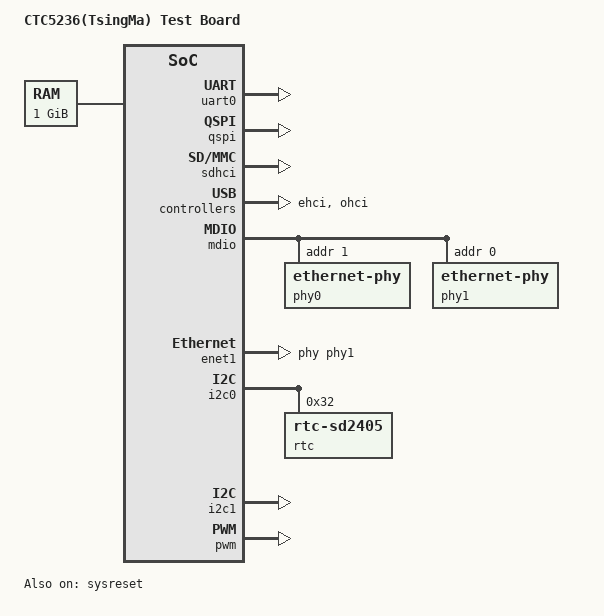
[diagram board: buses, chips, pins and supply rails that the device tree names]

/dts-v1/;
#include "ctc5236.dtsi"

/ {
	model = "CTC5236(TsingMa) Test Board";
	compatible = "ctc5236,tsingma-test";

	memory {
		device_type = "memory";
		reg = <0 0x80000000 0 0x40000000>;
	};

	chosen {
		stdout-path = "serial0:115200n8";
	};

	aliases {
		serial0 = &uart0;
		spi0 = &spi;
		spi1 = &qspi;
		mmc0 = &sdhci;
		usb0 = &ehci;
		usb1 = &ohci;
		ethernet0 = &enet0;
		ethernet1 = &enet1;
		i2c0 = &i2c0;
		i2c1 = &i2c1;
		pcie0 = &pcie;
	};
};

&uart0 {
	status = "okay";
};

&qspi {
	status = "okay";
};

&sdhci {
	status = "okay";
};

&ehci {
	status = "okay";
};

&ohci {
	status = "okay";
};

&mdio {
	status = "okay";
			
	phy0: ethernet-phy@0 {
		index = <0x00>;
		reg = <0x01>;
	};
	phy1: ethernet-phy@1 {
		index = <0x01>;
		reg = <0x00>;
	};
};

&enet0 {
	status = "disabled";
	phy-handle = <&phy0>;
	auto-nego-mode = "sgmii-mac";
};

&enet1 {
	status = "okay";
	phy-handle = <&phy1>;
	auto-nego-mode = "sgmii-mac";
};

&i2c0 {
        status = "okay";
		rtc:rtc@32{
			compatible = "rtc-sd2405";
			reg = <0x32>;
		};
};

&i2c1 {
        status = "okay";
};

&gpio0 {
        status = "okay";
};
&pwm {
        status = "okay";
};

&sysreset {
               status = "okay";
};
